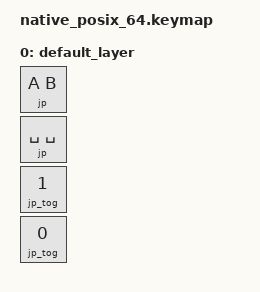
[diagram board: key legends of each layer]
#include <dt-bindings/zmk/keys.h>
#include <behaviors.dtsi>
#include <behaviors/japanese_input.dtsi>
#include <dt-bindings/zmk/kscan_mock.h>

/ {
    keymap {
        compatible = "zmk,keymap";
        default_layer {
            bindings = <
                &jp A B
                &jp SPACE SPACE
                &jp_tog 1
                &jp_tog 0
            >;
        };
    };
};


&kscan {
    events = <
        // enabled
        ZMK_MOCK_PRESS(0,2,10)
        ZMK_MOCK_RELEASE(0,2,10)
                
        ZMK_MOCK_PRESS(0,0,10)
        ZMK_MOCK_RELEASE(0,0,10)
        ZMK_MOCK_PRESS(0,1,10)
        ZMK_MOCK_RELEASE(0,1,10)

        // シフト面の確認
        ZMK_MOCK_PRESS(0,0,10)
        ZMK_MOCK_PRESS(0,1,10)
        ZMK_MOCK_RELEASE(0,0,10)
        ZMK_MOCK_RELEASE(0,1,10)

        // disabled
        ZMK_MOCK_PRESS(0,3,10)
        ZMK_MOCK_RELEASE(0,3,10)

        ZMK_MOCK_PRESS(0,0,10)
        ZMK_MOCK_RELEASE(0,0,10)
        ZMK_MOCK_PRESS(0,1,10)
        ZMK_MOCK_RELEASE(0,1,10)
    >;
};
